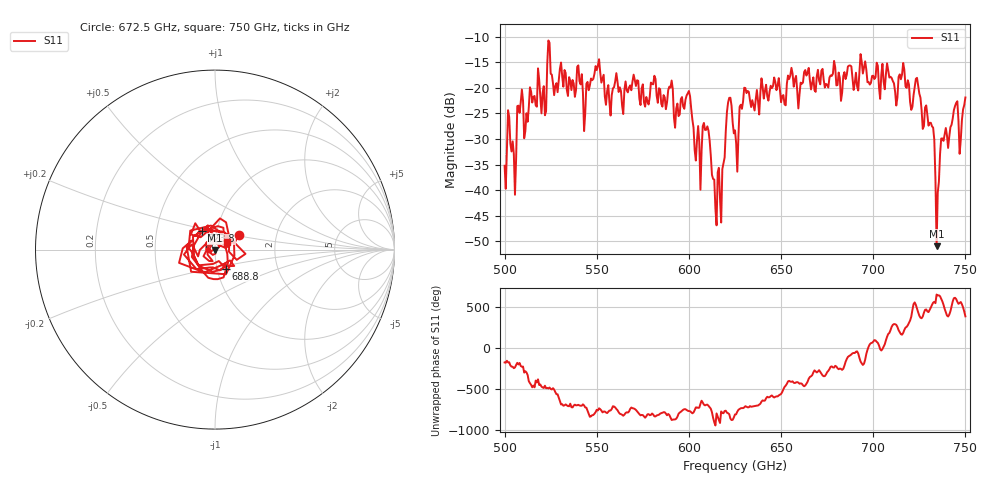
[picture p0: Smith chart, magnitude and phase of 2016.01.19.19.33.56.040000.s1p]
!Created with skrf (http://scikit-rf.org).
# GHz S RI R 50.0
!freq ReS11 ImS11
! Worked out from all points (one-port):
!   401 points, 500 GHz to 750 GHz, reference 50 ohm
!   lowest |S11| = -50.9 dB at 734.4 GHz (marker M1), VSWR 1.01, Z = 50.1 - j0.252 ohm
!   |S11| at or under -10 dB: start of sweep to end of sweep
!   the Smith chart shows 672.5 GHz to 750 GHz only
!   S11 on the Smith chart (normalised r, x): 672.5 GHz: 1.28, +0.21; 688.8 GHz: 1.11, -0.24; 723.8 GHz: 0.85, +0.17; 750 GHz: 1.14, +0.10
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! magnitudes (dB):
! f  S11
! 500 GHz  -35.2
! 503.1 GHz  -30.9
! 505 GHz  -32.9
! 508.1 GHz  -24.9
! 511.9 GHz  -25.0
! 521.2 GHz  -19.7
! 524.4 GHz  -11.2
! 531.2 GHz  -17.8
! 562.5 GHz  -19.9
! 590 GHz  -20.0
! 593.8 GHz  -23.1
! 600 GHz  -20.6
! 605 GHz  -27.5
! 609.4 GHz  -28.2
! 616.2 GHz  -35.6
! 621.9 GHz  -22.0
! 625 GHz  -28.3
! 631.2 GHz  -21.0
! 656.2 GHz  -17.3
! 672.5 GHz  -16.3
! 687.5 GHz  -15.6
! 688.8 GHz  -18.2
! 718.8 GHz  -18.5
! 723.8 GHz  -18.1
! 731.9 GHz  -27.5
! 734.4 GHz  -50.9
! 738.1 GHz  -30.4
! 750 GHz  -21.9
